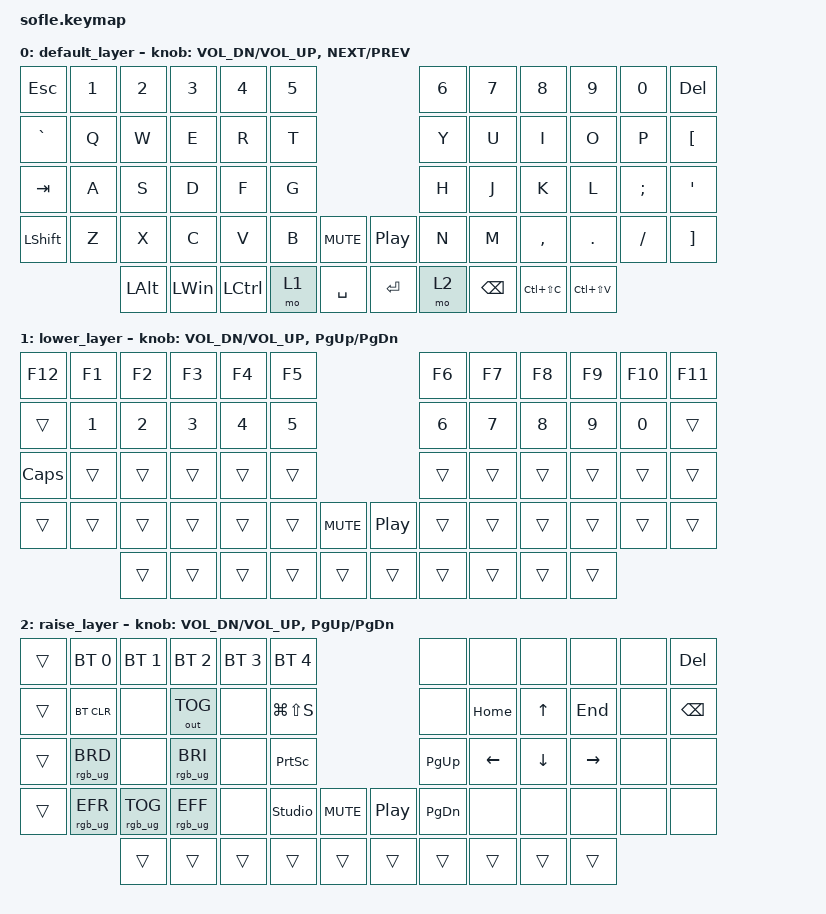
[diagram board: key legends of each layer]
/*
 * Copyright (c) 2020 The ZMK Contributors
 *
 * SPDX-License-Identifier: MIT
 */

#include <behaviors.dtsi>
#include <dt-bindings/zmk/bt.h>
#include <dt-bindings/zmk/keys.h>
#include <dt-bindings/zmk/outputs.h>
#include <dt-bindings/zmk/rgb.h>

//Encoder Support
//Alps Alpine EC11N1524402: 30 Detent, 15PPR, 2 Channel, Quadrature, 15000 Cycle

/ {
    left_encoder: encoder_left {
        compatible = "alps,ec11";
        label = "LEFT_ENCODER";
        a-gpios = <&pro_micro 21 (GPIO_ACTIVE_HIGH | GPIO_PULL_UP)>;
        b-gpios = <&pro_micro 20 (GPIO_ACTIVE_HIGH | GPIO_PULL_UP)>;
        steps = <60>;
    };

    right_encoder: encoder_right {
        compatible = "alps,ec11";
        label = "RIGHT_ENCODER";
        a-gpios = <&pro_micro 21 (GPIO_ACTIVE_HIGH | GPIO_PULL_UP)>;
        b-gpios = <&pro_micro 20 (GPIO_ACTIVE_HIGH | GPIO_PULL_UP)>;
        steps = <60>;
    };

    sensors {
        compatible = "zmk,keymap-sensors";
        sensors = <&left_encoder &right_encoder>;
        triggers-per-rotation = <30>;
    };
};

/ {
    macros {
        // System and Power
        // Microphones
        // Browser Controls
        //Unicode Special Characters
        //Need regkey HKEY_CURRENT_USER\Control Panel\Input Method, REG_SZ EnableHexNumpad = 1
        //Symbols       
        //IPA
        //Diacritical Characters
        // Fractions
        // Operators
    };
};

//Combos, note that key listing is zero indexed
//lshift: 36
//rshift: 49

/ {
    combos {
        compatible = "zmk,combos";

        // Characters
        // Fractions
        // Operators

        br1 {
            bindings = <&kp LEFT_BRACE>;
            key-positions = <16 17>;
        };

        br2 {
            bindings = <&kp RIGHT_BRACE>;
            key-positions = <18 19>;
        };

        br3 {
            bindings = <&kp LEFT_PARENTHESIS>;
            key-positions = <28 29>;
        };

        br4 {
            bindings = <&kp RIGHT_PARENTHESIS>;
            key-positions = <30 31>;
        };

        br5 {
            bindings = <&kp LEFT_BRACKET>;
            key-positions = <40 41>;
        };

        br6 {
            bindings = <&kp RIGHT_BRACKET>;
            key-positions = <44 45>;
        };

        su {
            bindings = <&kp UNDERSCORE>;
            key-positions = <15 16>;
        };

        su1 {
            bindings = <&kp EQUAL>;
            key-positions = <19 20>;
        };

        min {
            bindings = <&kp MINUS>;
            key-positions = <27 28>;
        };

        pl {
            bindings = <&kp PLUS>;
            key-positions = <31 32>;
        };

        or {
            bindings = <&kp PIPE>;
            key-positions = <39 40>;
        };

        and {
            bindings = <&kp AMPERSAND>;
            key-positions = <45 46>;
        };

        bs {
            bindings = <&kp NON_US_BACKSLASH>;
            key-positions = <22 23>;
        };

        bs1 {
            bindings = <&kp PIPE>;
            key-positions = <34 35>;
        };

        sl {
            bindings = <&kp SLASH>;
            key-positions = <48 49>;
        };

        cps {
            bindings = <&kp CAPS>;
            key-positions = <24 25>;
        };
    };
};

// Mod Morphs, Encoder, Tap-Dances

/ {
    behaviors {
        // Mod Morph
        // RGB
        // System Functions  
        // Special Characters - Capitalizations
        // Special Characters - Other
        // Encoder
        // Tap Dance
    };

    keymap {
        compatible = "zmk,keymap";

        default_layer {
            // ------------------------------------------------------------------------------------------------------------
            // |  ESC  |  1  |  2  |  3   |  4   |  5   |                    |  6   |  7    |  8    |  9   |   0   | DEL   |
            // |  TAB  |  Q  |  W  |  E   |  R   |  T   |                    |  Y   |  U    |  I    |  O   |   P   | BKSPC |
            // | CAPS  |  A  |  S  |  D   |  F   |  G   |                    |  H   |  J    |  K    |  L   |   ;   |   '   |
            // | SHIFT |  Z  |  X  |  C   |  V   |  B   |MUTE SPK|  |ClS  TAB|  N   |  M    |  ,    |  .   |   /   | SHIFT |
            //               | GUI | ALT  | CTRL | LOWER|  ENTER |  | SPACE  | RAISE| CTRL  | ALT   | GUI  |

            bindings = <
&kp ESC         &kp N1  &kp N2        &kp N3        &kp N4     &kp N5                                  &kp N6  &kp N7         &kp N8         &kp N9         &kp N0    &kp DELETE
&kp GRAVE       &kp Q   &kp W         &kp E         &kp R      &kp T                                   &kp Y   &kp U          &kp I          &kp O          &kp P     &kp LEFT_BRACKET
&kp TAB         &kp A   &kp S         &kp D         &kp F      &kp G                                   &kp H   &kp J          &kp K          &kp L          &kp SEMI  &kp SQT
&kp LEFT_SHIFT  &kp Z   &kp X         &kp C         &kp V      &kp B   &kp C_MUTE    &kp C_PLAY_PAUSE  &kp N   &kp M          &kp COMMA      &kp DOT        &kp FSLH  &kp RIGHT_BRACKET
                        &kp LEFT_ALT  &kp LEFT_WIN  &kp LCTRL  &mo 1   &kp SPACE     &kp ENTER         &mo 2   &kp BACKSPACE  &kp LC(LS(C))  &kp LC(LS(V))
            >;

            sensor-bindings =
                <&inc_dec_kp C_VOL_DN C_VOL_UP>,
                <&inc_dec_kp C_NEXT C_PREV>;
        };

        lower_layer {
            // ------------------------------------------------------------------------------------------------------------
            // |BTCLR| BT1  | BT2  |  BT3  |  BT4  |  BT5 |                | HUE+ |  =  |   /   |   *  |   -   | EFF+ |
            // |BRI+ | PSCR | INS  |   ↑   |   @   |   %  |                | HUE- |  7  |   8   |   9  |   +   | BKSP |
            // |BRI- | RGB  |  ←   |   ↓   |   →   |   $  |                | SAT+ |  4  |   5   |   6  |   +   | SPD+ |
            // |TASK |BT/USB|      |  PREV |  NEXT |   #  |PL/PS |  |      | SAT- |  1  |   2   |   3  | ENTER | SPD- |
            //              |      |       |       |      |      |  |      |  0   |  0  |   0   |   .  |

            bindings = <
&kp F12   &kp F1        &kp F2        &kp F3        &kp F4        &kp F5                                        &kp F6        &kp F7  &kp F8  &kp F9  &kp F10       &kp F11
&trans    &kp NUMBER_1  &kp NUMBER_2  &kp NUMBER_3  &kp NUMBER_4  &kp NUMBER_5                                  &kp NUMBER_6  &kp N7  &kp N8  &kp N9  &kp NUMBER_0  &trans
&kp CLCK  &trans        &trans        &trans        &trans        &trans                                        &trans        &trans  &trans  &trans  &trans        &trans
&trans    &trans        &trans        &trans        &trans        &trans        &kp C_MUTE    &kp C_PLAY_PAUSE  &trans        &trans  &trans  &trans  &trans        &trans
                        &trans        &trans        &trans        &trans        &trans        &trans            &trans        &trans  &trans  &trans
            >;

            sensor-bindings =
                <&inc_dec_kp C_VOL_DN C_VOL_UP>,
                <&inc_dec_kp PG_UP PG_DN>;
        };

        raise_layer {
            // TODO: Some binds are waiting for shifted keycode support.
            // ------------------------------------------------------------------------------------------------------------
            // |    F1 |  F2 |  F3 |  F4  |  F5  |  F6  |                   |  F7  |  F8   |  F9   |  F10 |  F11  |  F12  |
            // |       |  `  |  ~  |  <   |  >   |  ?   |                   |  *   |  {    |  }    | HOME |  END  |       |
            // |       |  !  |  @  |  #   |  $   |  %   |                   |  _   |  (    |  )    |  ;   |   |   | COLOR |
            // |       |  =  |  -  |  +   |  &   |  |   |  RGB   |  |       |  ^   |  [    |  ]    |  :   |   \   | POWER |
            //               |     |      |      |      |  CODE  |  |       |      |       |       |      |

            bindings = <
&trans  &bt BT_SEL 0     &bt BT_SEL 1     &bt BT_SEL 2     &bt BT_SEL 3  &bt BT_SEL 4                                     &none          &none           &none         &none      &none  &kp DEL
&trans  &bt BT_CLR       &none            &out OUT_TOG     &none         &kp LG(LS(S))                                    &none          &kp HOME        &kp UP_ARROW  &kp END    &none  &kp BACKSPACE
&trans  &rgb_ug RGB_BRD  &none            &rgb_ug RGB_BRI  &none         &kp PRINTSCREEN                                  &kp PG_UP      &kp LEFT_ARROW  &kp DOWN      &kp RIGHT  &none  &none
&trans  &rgb_ug RGB_EFR  &rgb_ug RGB_TOG  &rgb_ug RGB_EFF  &none         &studio_unlock   &kp C_MUTE    &kp C_PLAY_PAUSE  &kp PAGE_DOWN  &none           &none         &none      &none  &none
                         &trans           &trans           &trans        &trans           &trans        &trans            &trans         &trans          &trans        &trans
            >;

            sensor-bindings =
                <&inc_dec_kp C_VOL_DN C_VOL_UP>,
                <&inc_dec_kp PG_UP PG_DN>;
        };
    };
};
